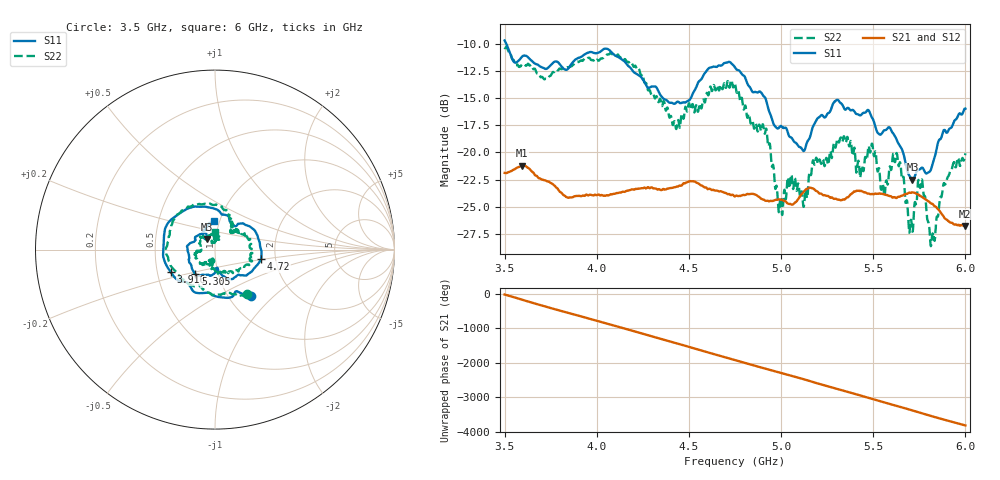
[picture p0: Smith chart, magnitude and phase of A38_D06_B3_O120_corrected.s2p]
! Created with skrf 1.9.0 (http://scikit-rf.org).
# Hz S RI R 50.0
!freq ReS11 ImS11 ReS21 ImS21 ReS12 ImS12 ReS22 ImS22
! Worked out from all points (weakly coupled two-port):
!   1601 points, 3.5 GHz to 6 GHz, reference 50 ohm
!   highest |S21| = -21.21 dB at 3.594 GHz (marker M1); lowest = -26.8 dB at 5.997 GHz (marker M2)
!   lowest |S11| = -22.5 dB at 5.713 GHz (marker M3), VSWR 1.16, Z = 45.3 + j5.42 ohm
!   |S11| at or under -10 dB: 3.51 GHz to end of sweep
!   |S22| runs from -28.7 to -10.2 dB; largest |S21 - S12| = 0.00094
!   S11 on the Smith chart (normalised r, x): 3.5 GHz: 1.27, -0.74; 3.916 GHz: 0.59, -0.16; 4.72 GHz: 1.68, -0.18; 5.305 GHz: 0.78, -0.22; 6 GHz: 0.94, +0.31
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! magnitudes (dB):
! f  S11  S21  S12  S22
! 3.5 GHz  -9.7  -21.9  -21.9  -10.3
! 3.594 GHz  -11.2  -21.2  -21.2  -12.0
! 3.916 GHz  -11.2  -24.0  -24.0  -11.5
! 3.917 GHz  -11.2  -24.0  -24.0  -11.5
! 4.127 GHz  -11.3  -23.7  -23.7  -11.2
! 4.334 GHz  -14.3  -23.4  -23.3  -15.4
! 4.441 GHz  -15.3  -23.1  -23.1  -17.0
! 4.72 GHz  -11.6  -23.9  -23.9  -14.0
! 4.75 GHz  -12.1  -24.1  -24.0  -13.7
! 4.912 GHz  -14.9  -24.4  -24.4  -18.3
! 4.997 GHz  -17.6  -24.4  -24.3  -24.1
! 5.131 GHz  -19.6  -23.5  -23.4  -23.6
! 5.167 GHz  -17.9  -23.3  -23.2  -21.4
! 5.305 GHz  -15.1  -24.3  -24.3  -18.8
! 5.584 GHz  -17.7  -24.0  -23.9  -22.0
! 5.636 GHz  -19.1  -24.1  -24.0  -21.1
! 5.713 GHz  -22.5  -23.7  -23.6  -27.3
! 5.756 GHz  -21.5  -24.0  -24.0  -23.2
! 5.823 GHz  -21.0  -24.8  -24.7  -27.5
! 5.889 GHz  -17.9  -26.1  -26.0  -23.0
! 5.997 GHz  -16.0  -26.8  -26.7  -20.4
! 6 GHz  -16.0  -26.8  -26.7  -20.1
